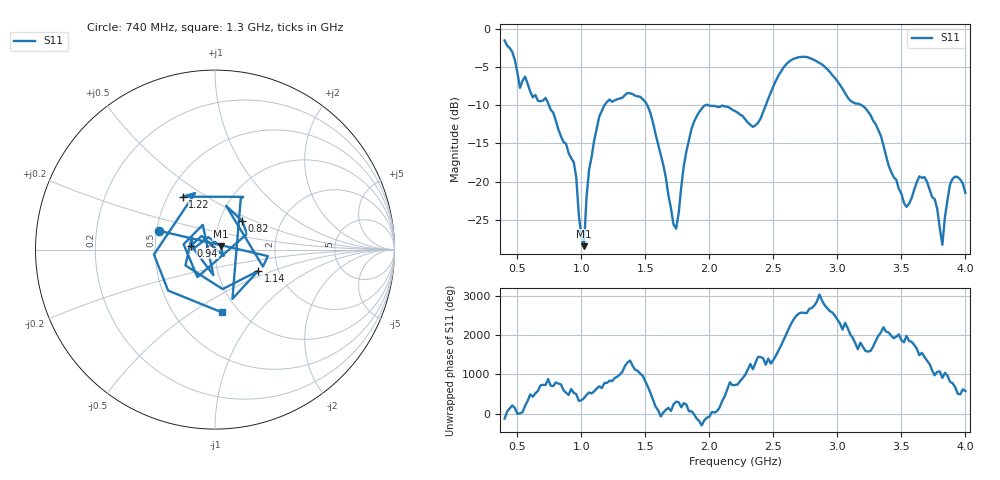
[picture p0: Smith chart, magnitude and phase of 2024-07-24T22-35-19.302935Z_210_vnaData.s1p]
!Created with skrf (http://scikit-rf.org).
# Hz S RI R 50.0
!freq ReS11 ImS11
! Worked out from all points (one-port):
!   181 points, 400 MHz to 4 GHz, reference 50 ohm
!   lowest |S11| = -28.5 dB at 1.02 GHz (marker M1), VSWR 1.08, Z = 53.3 + j2.05 ohm
!   |S11| at or under -10 dB: 1.515 GHz to 1.967 GHz (451.9 MHz wide, 26 % of centre); 1.995 GHz to 2.44 GHz (444.9 MHz wide, 20.1 % of centre); 3.19 GHz to end of sweep (the widest 3 of 4)
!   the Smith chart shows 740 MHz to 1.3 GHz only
!   S11 on the Smith chart (normalised r, x): 740 MHz: 0.52, +0.12; 820 MHz: 1.28, +0.43; 940 MHz: 0.77, +0.04; 1.14 GHz: 1.57, -0.40; 1.22 GHz: 0.60, +0.40; 1.3 GHz: 0.84, -0.66
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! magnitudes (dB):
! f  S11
! 400 MHz  -1.5
! 520 MHz  -7.7
! 740 MHz  -9.7
! 820 MHz  -13.2
! 860 MHz  -14.8
! 940 MHz  -17.4
! 1.02 GHz  -28.5
! 1.06 GHz  -18.4
! 1.14 GHz  -11.4
! 1.22 GHz  -9.2
! 1.3 GHz  -9.1
! 1.52 GHz  -10.2
! 1.72 GHz  -25.6
! 1.76 GHz  -24.1
! 1.82 GHz  -16.0
! 1.9 GHz  -11.4
! 2.2 GHz  -10.7
! 2.36 GHz  -12.6
! 2.66 GHz  -3.9
! 2.88 GHz  -4.6
! 3.1 GHz  -9.4
! 3.26 GHz  -11.3
! 3.56 GHz  -22.9
! 3.68 GHz  -19.4
! 3.76 GHz  -22.3
! 3.82 GHz  -28.3
! 3.88 GHz  -20.4
! 4 GHz  -21.5
